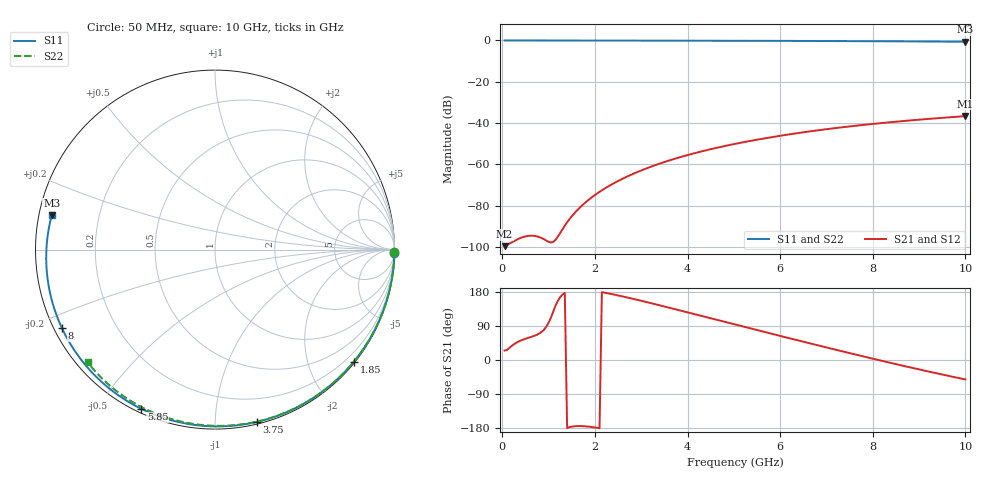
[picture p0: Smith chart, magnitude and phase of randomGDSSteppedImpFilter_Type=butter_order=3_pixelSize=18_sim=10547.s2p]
! freq	dB(S11)	phase(S11)	dB(S12)	phase(S12)
!  dB(S21)	phase(S21)	dB(S22)	phase(S22)
!S-par simulation data
#  GHz  S  DB  R 50
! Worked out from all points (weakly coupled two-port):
!   200 points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, 50 MHz to 10 GHz, reference 50 ohm
!   highest |S21| = -36.66 dB at 10 GHz (marker M1); lowest = -99.7 dB at 50 MHz (marker M2)
!   lowest |S11| = -0.6 dB at 10 GHz (marker M3), VSWR 27.30, Z = 1.85 + j5.23 ohm
!   |S11| at or under -10 dB: nowhere
!   |S22| runs from -0.5 to 0.0 dB; largest |S21 - S12| = 0
!   S11 on the Smith chart (normalised r, x): 50 MHz: open; 1.85 GHz: 0.03, -2.83; 3.75 GHz: 0.02, -1.27; 5.85 GHz: 0.02, -0.64; 8 GHz: 0.02, -0.24; 10 GHz: 0.04, +0.10
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0.05  -0.00 -1.1  -99.68 25.1  -99.68 25.1  -0.00 -0.8
0.45  -0.01 -9.6  -95.25 53.9  -95.25 53.9  -0.01 -7.2
0.85  -0.02 -18.1  -95.75 74.2  -95.75 74.2  -0.02 -13.5
1.25  -0.03 -26.5  -93.30 165.8  -93.30 165.8  -0.02 -19.8
1.7  -0.05 -35.9  -80.42 -174.3  -80.42 -174.3  -0.03 -26.8
1.75  -0.05 -36.9  -79.39 -174.6  -79.39 -174.6  -0.04 -27.6
1.85  -0.05 -38.9  -77.47 -175.6  -77.47 -175.6  -0.04 -29.2
2.15  -0.06 -45.0  -72.61 179.0  -72.61 179.0  -0.04 -33.8
2.5  -0.07 -52.1  -68.10 170.4  -68.10 170.4  -0.05 -39.1
2.9  -0.08 -60.0  -63.91 159.3  -63.91 159.3  -0.06 -45.1
3.4  -0.09 -69.8  -59.66 144.3  -59.66 144.3  -0.07 -52.5
3.75  -0.10 -76.5  -57.15 133.5  -57.15 133.5  -0.08 -57.6
4.4  -0.13 -88.6  -53.22 113.2  -53.22 113.2  -0.10 -66.9
5.05  -0.16 -100.5  -50.00 92.9  -50.00 92.9  -0.12 -75.9
5.85  -0.20 -114.8  -46.74 68.1  -46.74 68.1  -0.15 -86.7
6.7  -0.25 -129.8  -43.89 42.2  -43.89 42.2  -0.19 -97.8
7.35  -0.31 -141.3  -42.04 22.6  -42.04 22.6  -0.23 -106.1
8  -0.37 -152.9  -40.45 3.5  -40.45 3.5  -0.28 -114.2
8.35  -0.41 -159.3  -39.67 -6.6  -39.67 -6.6  -0.30 -118.5
9.2  -0.51 -175.5  -38.02 -30.3  -38.02 -30.3  -0.38 -128.8
9.6  -0.57 176.5  -37.32 -41.0  -37.32 -41.0  -0.42 -133.6
10  -0.64 168.0  -36.66 -51.3  -36.66 -51.3  -0.47 -138.4
